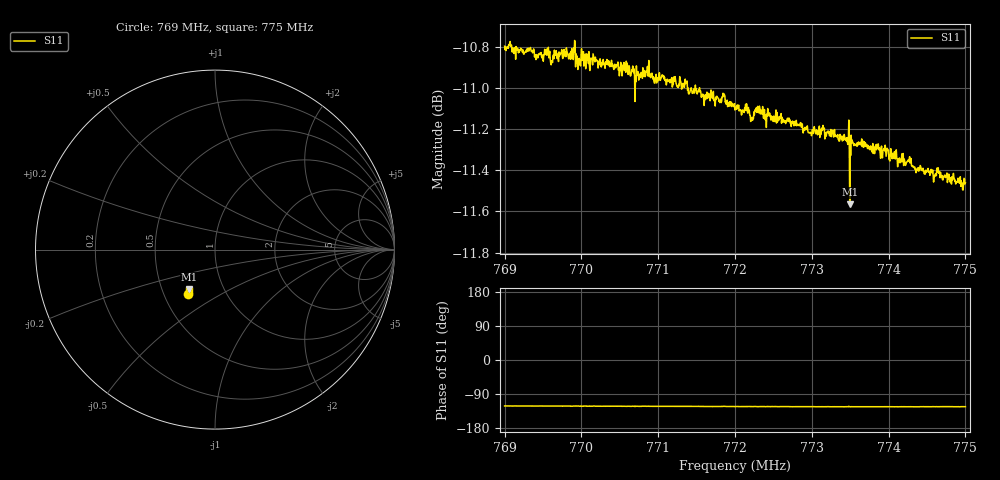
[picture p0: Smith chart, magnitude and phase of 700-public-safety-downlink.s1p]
! Calibrated averaged scanner-service zoom
# Hz S RI R 50
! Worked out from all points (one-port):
!   1001 points, 769 MHz to 775 MHz, reference 50 ohm
!   lowest |S11| = -11.6 dB at 773.494 MHz (marker M1), VSWR 1.72, Z = 34.2 - j16.3 ohm
!   |S11| at or under -10 dB: start of sweep to end of sweep
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7.69e8  -0.1498 -0.2466
7.6942e8  -0.1497 -0.2448
7.69552e8  -0.1499 -0.2448
7.69612e8  -0.1501 -0.2436
7.6975e8  -0.1512 -0.2441
7.69888e8  -0.1508 -0.244
7.69954e8  -0.1492 -0.2425
7.70044e8  -0.1486 -0.2448
7.705e8  -0.1505 -0.2413
7.70572e8  -0.1514 -0.2417
7.70722e8  -0.1509 -0.2404
7.70848e8  -0.1508 -0.2411
7.70926e8  -0.1511 -0.24
7.7125e8  -0.1513 -0.238
7.7173e8  -0.1522 -0.235
7.71862e8  -0.1496 -0.2376
7.72e8  -0.1509 -0.2339
7.72156e8  -0.1513 -0.2344
7.72222e8  -0.1502 -0.233
7.72294e8  -0.1521 -0.2339
7.7275e8  -0.1513 -0.2316
7.72984e8  -0.1502 -0.2302
7.73452e8  -0.1504 -0.2286
7.73494e8  -0.1442 -0.2212
7.735e8  -0.1505 -0.2289
7.73668e8  -0.1502 -0.2286
7.7425e8  -0.1489 -0.2258
7.75e8  -0.1463 -0.2237
